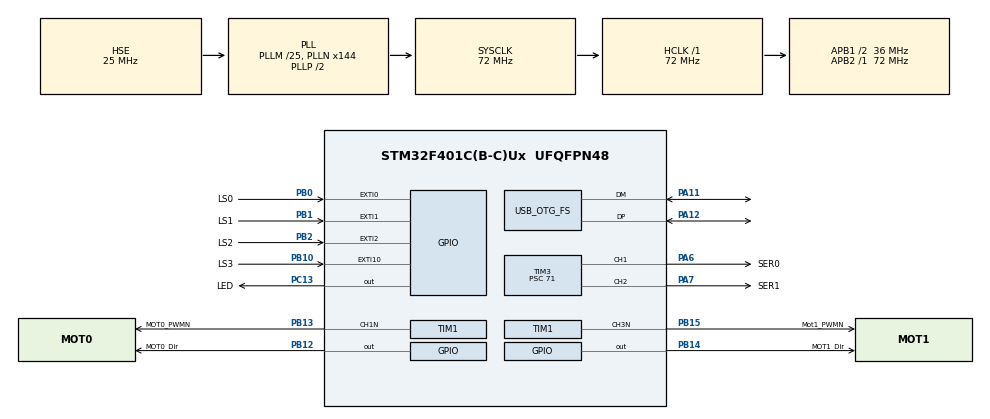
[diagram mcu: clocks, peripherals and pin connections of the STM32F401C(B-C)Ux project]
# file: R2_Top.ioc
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Mcu.Family=STM32F4
Mcu.Name=STM32F401C(B-C)Ux
Mcu.Package=UFQFPN48
NVIC.EXTI0_IRQn=true\:0\:0\:false\:false\:true\:true\:true\:true
NVIC.EXTI15_10_IRQn=true\:0\:0\:false\:false\:true\:true\:true\:true
NVIC.EXTI1_IRQn=true\:0\:0\:false\:false\:true\:true\:true\:true
NVIC.EXTI2_IRQn=true\:0\:0\:false\:false\:true\:true\:true\:true
NVIC.OTG_FS_IRQn=true\:0\:0\:false\:false\:true\:false\:true\:true
NVIC.PriorityGroup=NVIC_PRIORITYGROUP_4
NVIC.TIM4_IRQn=true\:0\:0\:false\:false\:true\:true\:true\:true
PA11.Mode=Device_Only
PA11.Signal=USB_OTG_FS_DM
PA12.Mode=Device_Only
PA12.Signal=USB_OTG_FS_DP
PA6.GPIO_Label=SER0
PA6.Signal=S_TIM3_CH1
PA7.GPIO_Label=SER1
PA7.Signal=S_TIM3_CH2
PB0.GPIO_Label=LS0
PB0.GPIO_ModeDefaultEXTI=GPIO_MODE_IT_FALLING
PB0.GPIO_PuPd=GPIO_PULLUP
PB0.Signal=GPXTI0
PB1.GPIO_Label=LS1
PB1.GPIO_ModeDefaultEXTI=GPIO_MODE_IT_FALLING
PB1.GPIO_PuPd=GPIO_PULLUP
PB1.Signal=GPXTI1
PB10.GPIO_Label=LS3
PB10.GPIO_ModeDefaultEXTI=GPIO_MODE_IT_FALLING
PB10.GPIO_PuPd=GPIO_PULLUP
PB10.Signal=GPXTI10
PB12.GPIO_Label=MOT0_Dir
PB12.Signal=GPIO_Output
PB13.GPIO_Label=MOT0_PWMN
PB13.Mode=PWM Generation1 CH1N
PB13.Signal=TIM1_CH1N
PB14.GPIO_Label=MOT1_Dir
PB14.Signal=GPIO_Output
PB15.GPIO_Label=Mot1_PWMN
PB15.Mode=PWM Generation3 CH3N
PB15.Signal=TIM1_CH3N
PB2.GPIO_Label=LS2
PB2.GPIO_ModeDefaultEXTI=GPIO_MODE_IT_FALLING
PB2.GPIO_PuPd=GPIO_PULLUP
PB2.Signal=GPXTI2
PC13-ANTI_TAMP.GPIO_Label=LED
PC13-ANTI_TAMP.Signal=GPIO_Output
PH0\ -\ OSC_IN.Mode=HSE-External-Oscillator
PH0\ -\ OSC_IN.Signal=RCC_OSC_IN
PH1\ -\ OSC_OUT.Mode=HSE-External-Oscillator
PH1\ -\ OSC_OUT.Signal=RCC_OSC_OUT
ProjectManager.HeapSize=0x200
ProjectManager.StackSize=0x400
ProjectManager.TargetToolchain=STM32CubeIDE
RCC.48MHZClocksFreq_Value=48000000
RCC.AHBFreq_Value=72000000
RCC.APB1CLKDivider=RCC_HCLK_DIV2
RCC.APB1Freq_Value=36000000
RCC.APB1TimFreq_Value=72000000
RCC.APB2Freq_Value=72000000
RCC.APB2TimFreq_Value=72000000
RCC.CortexFreq_Value=72000000
RCC.HCLKFreq_Value=72000000
RCC.HSE_VALUE=25000000
RCC.HSI_VALUE=16000000
RCC.LSE_VALUE=32768
RCC.PLLM=25
RCC.PLLN=144
RCC.PLLQ=3
RCC.SYSCLKFreq_VALUE=72000000
RCC.SYSCLKSource=RCC_SYSCLKSOURCE_PLLCLK
RCC.VCOOutputFreq_Value=144000000
SH.S_TIM3_CH1.0=TIM3_CH1,PWM Generation1 CH1
SH.S_TIM3_CH2.0=TIM3_CH2,PWM Generation2 CH2
TIM1.Channel-PWM\ Generation1\ CH1N=TIM_CHANNEL_1
TIM1.Channel-PWM\ Generation3\ CH3N=TIM_CHANNEL_3
TIM3.Channel-PWM\ Generation1\ CH1=TIM_CHANNEL_1
TIM3.Channel-PWM\ Generation2\ CH2=TIM_CHANNEL_2
TIM3.Period=20000
TIM3.Prescaler=71
TIM4.AutoReloadPreload=TIM_AUTORELOAD_PRELOAD_ENABLE
TIM4.Period=1000
TIM4.Prescaler=71
USB_DEVICE.CLASS_NAME_FS=CDC
USB_DEVICE.VirtualMode=Cdc
USB_DEVICE.VirtualModeFS=Cdc_FS
USB_OTG_FS.VirtualMode=Device_Only
VP_TIM1_VS_ClockSourceINT.Mode=Internal
VP_TIM3_VS_ClockSourceINT.Mode=Internal
VP_TIM4_VS_ClockSourceINT.Mode=Internal
VP_USB_DEVICE_VS_USB_DEVICE_CDC_FS.Mode=CDC_FS
board=custom

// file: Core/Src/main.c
/* USER CODE BEGIN Header */
/**
 ******************************************************************************
 * @file           : main.c
 * @brief          : Main program body
 ******************************************************************************
 * @attention
 *
 * Copyright (c) 2024 STMicroelectronics.
 * All rights reserved.
 *
 * This software is licensed under terms that can be found in the LICENSE file
 * in the root directory of this software component.
 * If no LICENSE file comes with this software, it is provided AS-IS.
 *
 ******************************************************************************
 */
/* USER CODE END Header */
#include "main.h"
#include "usb_device.h"

/* USER CODE BEGIN Includes */
#include "usbd_cdc_if.h"
#include "string.h"

/* USER CODE END Includes */

/* USER CODE BEGIN PTD */
typedef struct {
	GPIO_TypeDef *PORT;
	uint16_t PIN;
	TIM_HandleTypeDef *TIMER;
	uint32_t CHANNEL;
	uint8_t DIR;
	uint16_t PWM;
} MOTOR_TypeDef;

typedef struct {
	TIM_HandleTypeDef *TIMER;
	uint32_t CHANNEL;
	uint16_t US;
} SERVO_TypeDef;

/* USER CODE END PTD */

/* USER CODE BEGIN PD */
#define BUFFER_LENGTH 64
#define SOL_INTERVAL 10000
#define LEFT_SHIFT

#define LS0_PIN GPIO_PIN_0	//LEAD
#define LS1_PIN GPIO_PIN_1	//LEAD
#define LS2_PIN GPIO_PIN_2	//RACK
#define LS3_PIN GPIO_PIN_10	//RACK

#define RACK_SPEED  19660//3276
#define LEAD_SPEED  45874//19660//3276

#define RACK_COOLDOWN 100
#define LEAD_COOLDOWN 100

#define WRIST_DEFAULT 2000
#define WRIST_ACTIVE 650

#define GRIPPER_DEFAULT 1400
#define GRIPPER_ACTIVE 1100

enum motors {
	RACK, LEAD
};

enum servos {
	WRIST, GRIPPER
};

enum interrupts {
	DISABLED, ENABLED
};

enum rackDirs {
	FORWARDS, BACKWARDS
};

enum leadDirs {
	UPWARDS, DOWNWARDS
};
/* USER CODE END PD */

TIM_HandleTypeDef htim1;
TIM_HandleTypeDef htim3;
TIM_HandleTypeDef htim4;

/* USER CODE BEGIN PV */
char buffer[BUFFER_LENGTH];

//For rackExti and leadExti:
//0: interrupt disabled
//1: interrupt enabled
volatile uint8_t rackExti = ENABLED; //make sure rack limit switches are NOT pressed at startuo
volatile uint8_t leadExti = ENABLED; //make sure lead limit switches are NOT pressed at startuo

uint8_t errorFlag = 0;

char message[BUFFER_LENGTH + 20];

MOTOR_TypeDef motor[2];
SERVO_TypeDef servo[2];

/* USER CODE END PV */

void SystemClock_Config(void);
static void MX_GPIO_Init(void);
static void MX_TIM1_Init(void);
static void MX_TIM3_Init(void);
static void MX_TIM4_Init(void);

/* USER CODE BEGIN 0 */
//void stopMotor(uint8_t index) {
//	HAL_GPIO_WritePin(GPIOC, GPIO_PIN_13, GPIO_PIN_SET);
//	sprintf(message, "Motor %d interrupt\n\r", index);
//	CDC_Transmit_FS((uint8_t*) message, strlen(message));
//}

int isCleared(char *buffer) {
	for (uint8_t i = 0; i < BUFFER_LENGTH; i++) {
		if (buffer[i] != '\0') {
			return 0;  // Buffer is not cleared
		}
	}
	return 1;  // Buffer is cleared
}

/* USER CODE END 0 */

int main(void) {

	/* USER CODE BEGIN 1 */
//	uint32_t lastSOL = 0;
	motor[LEAD].PORT = GPIOB;
	motor[LEAD].PIN = GPIO_PIN_14;
	motor[LEAD].TIMER = &htim1;
	motor[LEAD].CHANNEL = TIM_CHANNEL_3;

	motor[RACK].PORT = GPIOB;
	motor[RACK].PIN = GPIO_PIN_12;
	motor[RACK].TIMER = &htim1;
	motor[RACK].CHANNEL = TIM_CHANNEL_1;

	servo[WRIST].TIMER = &htim3;
	servo[WRIST].CHANNEL = TIM_CHANNEL_1;
	servo[WRIST].US = WRIST_DEFAULT;

	servo[GRIPPER].TIMER = &htim3;
	servo[GRIPPER].CHANNEL = TIM_CHANNEL_2;
	servo[GRIPPER].US = GRIPPER_DEFAULT;

	for (uint8_t i = 0; i < 2; i++) {
		motor[i].DIR = 0;
		motor[i].PWM = 0;
	}

	/* USER CODE END 1 */

	/* MCU Configuration--------------------------------------------------------*/

	/* Reset of all peripherals, Initializes the Flash interface and the Systick. */
	HAL_Init();

	/* Configure the system clock */
	SystemClock_Config();

	/* Initialize all configured peripherals */
	MX_GPIO_Init();
	MX_TIM1_Init();
	MX_TIM3_Init();
	MX_TIM4_Init();
	MX_USB_DEVICE_Init();
	/* USER CODE BEGIN 2 */
	HAL_GPIO_WritePin(GPIOC, GPIO_PIN_13, GPIO_PIN_RESET);

	for (uint8_t i = 0; i < 2; i++) {
		if ((HAL_TIMEx_PWMN_Start(motor[i].TIMER, motor[i].CHANNEL) == HAL_OK)) { //<-This is PWMN
			sprintf(message, "Motor %d PWM initialised\n\r", i);
		} else {
			sprintf(message, "Error initialising motor %d PWM\n\r", i);
		}
		CDC_Transmit_FS((uint8_t*) message, strlen(message));
		HAL_Delay(1);
	}

	for (uint8_t i = 0; i < 2; i++) {
		if (HAL_TIM_PWM_Start(servo[i].TIMER, servo[i].CHANNEL)) { //<-This is PWM
			sprintf(message, "Servo %d PWM initialised\n\r", i);
		} else {
			sprintf(message, "Error initialising servo %d PWM\n\r", i);
		}
		CDC_Transmit_FS((uint8_t*) message, strlen(message));
		HAL_Delay(1);
	}

	if (!errorFlag) {
		sprintf(message, "All systems operational\n\r");
		CDC_Transmit_FS((uint8_t*) message, strlen(message));
		HAL_Delay(1);

		sprintf(message, "F411 Black Pill online\n\r");
		CDC_Transmit_FS((uint8_t*) message, strlen(message));
		HAL_Delay(1);
	} else {
		sprintf(message, "STM started with some errors\n\r");
		CDC_Transmit_FS((uint8_t*) message, strlen(message));
		HAL_Delay(1);
	}

	__HAL_TIM_SET_COMPARE(servo[WRIST].TIMER, servo[WRIST].CHANNEL,
			WRIST_DEFAULT);
	__HAL_TIM_SET_COMPARE(servo[GRIPPER].TIMER, servo[GRIPPER].CHANNEL,
			GRIPPER_DEFAULT);
	/* USER CODE END 2 */

	/* Infinite loop */
	/* USER CODE BEGIN WHILE */
	while (1) {
//		uint32_t current_time = HAL_GetTick();

		if (leadExti == DISABLED) {
			if (motor[LEAD].DIR == 0) {
				motor[LEAD].DIR = 1;
			} else if (motor[LEAD].DIR == 1) {
				motor[LEAD].DIR = 0;
			}
			HAL_GPIO_TogglePin(motor[LEAD].PORT, motor[LEAD].PIN);
			HAL_Delay(LEAD_COOLDOWN);
			motor[LEAD].PWM = 0;
			__HAL_TIM_SET_COMPARE(motor[LEAD].TIMER, motor[LEAD].CHANNEL,
					motor[LEAD].PWM);

			leadExti = ENABLED;	//Re-enabling the interrupts
			HAL_GPIO_WritePin(GPIOC, GPIO_PIN_13, GPIO_PIN_RESET);
		}

		if (rackExti == DISABLED) {
			if (motor[RACK].DIR == 0) {
				motor[RACK].DIR = 1;
			} else if (motor[RACK].DIR == 1) {
				motor[RACK].DIR = 0;
			}
			HAL_GPIO_TogglePin(motor[RACK].PORT, motor[RACK].PIN);
			HAL_Delay(RACK_COOLDOWN);
			motor[RACK].PWM = 0;
			__HAL_TIM_SET_COMPARE(motor[RACK].TIMER, motor[RACK].CHANNEL,
					motor[RACK].PWM);

			rackExti = ENABLED;	//Re-enabling the interrupts
			HAL_GPIO_WritePin(GPIOC, GPIO_PIN_13, GPIO_PIN_RESET);
		}

		if (!isCleared(buffer)) {
			char receivedStr[BUFFER_LENGTH];

//			sprintf(message, "String Received: %s\n\r", buffer);
//			CDC_Transmit_FS((uint8_t*) message, strlen(message));

			sprintf(receivedStr, "%s", buffer);

			if (receivedStr[0] == '0') {	//RESET
				sprintf(message, "0 \r\n");
				CDC_Transmit_FS((uint8_t*) message, strlen(message));
				HAL_Delay(1);

//				for (uint8_t i = 0; i < 2; i++) {
//					motor[i].DIR = 0;
//					motor[i].PWM = 0;
//				}
//
//				servo[WRIST].US = WRIST_DEFAULT;
//				servo[GRIPPER].US = GRIPPER_DEFAULT;
			} else if (receivedStr[0] == '1') {	//RETRACT
				if (rackExti == ENABLED) {
					sprintf(message, "-1 \r\n");
					CDC_Transmit_FS((uint8_t*) message, strlen(message));
					HAL_Delay(1);

					HAL_GPIO_WritePin(motor[RACK].PORT, motor[RACK].PIN,
							BACKWARDS);
					__HAL_TIM_SET_COMPARE(motor[RACK].TIMER,
							motor[RACK].CHANNEL, RACK_SPEED);

				}
			} else if (receivedStr[0] == '2') {	//EXTEND
				if (rackExti == ENABLED) {
					sprintf(message, "-2 \r\n");
					CDC_Transmit_FS((uint8_t*) message, strlen(message));
					HAL_Delay(1);

					HAL_GPIO_WritePin(motor[RACK].PORT, motor[RACK].PIN,
							FORWARDS);
					__HAL_TIM_SET_COMPARE(motor[RACK].TIMER,
							motor[RACK].CHANNEL, RACK_SPEED);

				}
			} else if (receivedStr[0] == '3') {	//DESCALATE
				if (leadExti == ENABLED) {
					sprintf(message, "-3 \r\n");
					CDC_Transmit_FS((uint8_t*) message, strlen(message));
					HAL_Delay(1);

					HAL_GPIO_WritePin(motor[LEAD].PORT, motor[LEAD].PIN,
							DOWNWARDS);
					__HAL_TIM_SET_COMPARE(motor[LEAD].TIMER,
							motor[LEAD].CHANNEL, LEAD_SPEED);

				}
			} else if (receivedStr[0] == '4') {	//ESCALATE
				if (leadExti == ENABLED) {
					sprintf(message, "-4 \r\n");
					CDC_Transmit_FS((uint8_t*) message, strlen(message));
					HAL_Delay(1);

					HAL_GPIO_WritePin(motor[LEAD].PORT, motor[LEAD].PIN,
							UPWARDS);
					__HAL_TIM_SET_COMPARE(motor[LEAD].TIMER,
							motor[LEAD].CHANNEL, LEAD_SPEED);

				}
			} else if (receivedStr[0] == '5') {	//ARM_DOWN
				sprintf(message, "5 \r\n");
				CDC_Transmit_FS((uint8_t*) message, strlen(message));
				HAL_Delay(1);

				__HAL_TIM_SET_COMPARE(servo[WRIST].TIMER, servo[WRIST].CHANNEL,
						WRIST_ACTIVE);

				HAL_Delay(1000);
				sprintf(message, "-5 \r\n");
				CDC_Transmit_FS((uint8_t*) message, strlen(message));
				HAL_Delay(1);

			} else if (receivedStr[0] == '6') {	//ARM_UP
				sprintf(message, "6 \r\n");
				CDC_Transmit_FS((uint8_t*) message, strlen(message));
				HAL_Delay(1);

				__HAL_TIM_SET_COMPARE(servo[WRIST].TIMER, servo[WRIST].CHANNEL,
						WRIST_DEFAULT);

				HAL_Delay(1000);
				sprintf(message, "-6 \r\n");
				CDC_Transmit_FS((uint8_t*) message, strlen(message));
				HAL_Delay(1);

			} else if (receivedStr[0] == '7') {	//ARM_CLOSE
				sprintf(message, "7 \r\n");
				CDC_Transmit_FS((uint8_t*) message, strlen(message));
				HAL_Delay(1);

				__HAL_TIM_SET_COMPARE(servo[GRIPPER].TIMER,
						servo[GRIPPER].CHANNEL, GRIPPER_ACTIVE);

				HAL_Delay(500);
				sprintf(message, "-7 \r\n");
				CDC_Transmit_FS((uint8_t*) message, strlen(message));
				HAL_Delay(1);

			} else if (receivedStr[0] == '8') {	//ARM_OPEN
				sprintf(message, "8 \r\n");
				CDC_Transmit_FS((uint8_t*) message, strlen(message));
				HAL_Delay(1);

				__HAL_TIM_SET_COMPARE(servo[GRIPPER].TIMER,
						servo[GRIPPER].CHANNEL, GRIPPER_DEFAULT);

				HAL_Delay(500);
				sprintf(message, "-8 \r\n");
				CDC_Transmit_FS((uint8_t*) message, strlen(message));
				HAL_Delay(1);

//			} else if (receivedStr[0] == '9') {	//HALF_DESCALATE: DON'T EVER use this as the 1st command after startup
//				__HAL_TIM_SET_COMPARE(motor[LEAD].TIMER, motor[LEAD].CHANNEL,
//						LEAD_SPEED);
//				HAL_Delay(1000);
//				__HAL_TIM_SET_COMPARE(motor[LEAD].TIMER, motor[LEAD].CHANNEL,
//						0);
//			} else if (receivedStr[0] == 'D') {
//				for (uint8_t i = 0; i < 2; i++) {
//					sprintf(message, "Dir%d: %d PWM%d: %d SER%d: %d\n\r", i,
//							motor[i].DIR, i, motor[i].PWM, i, servo[i].US);
//					CDC_Transmit_FS((uint8_t*) message, strlen(message));
//					HAL_Delay(1);
//				}
			}

//			sprintf(message, "%c \r\n", receivedStr[0]);
//			CDC_Transmit_FS((uint8_t*) message, strlen(message));
//			HAL_Delay(1);

//			for (uint8_t i = 0; i < 2; i++) {
//				sprintf(message, "Dir%d: %d PWM%d: %d SER%d: %d\n\r", i,
//						motor[i].DIR, i, motor[i].PWM, i, servo[i].US);
//				CDC_Transmit_FS((uint8_t*) message, strlen(message));
//				HAL_Delay(1);

//				HAL_GPIO_WritePin(motor[i].PORT, motor[i].PIN, motor[i].DIR);//<-MOTORS HERE
//				__HAL_TIM_SET_COMPARE(motor[i].TIMER, motor[i].CHANNEL,
//						motor[i].PWM);
//				__HAL_TIM_SET_COMPARE(servo[i].TIMER, servo[i].CHANNEL,
//						servo[i].US);
			}

			memset(buffer, '\0', BUFFER_LENGTH);

//		} else if (current_time - lastSOL >= SOL_INTERVAL) {
//			CDC_Transmit_FS((uint8_t*) "SOL\n\r", strlen("SOL\n\r"));
//			lastSOL = current_time;
//		}

		HAL_Delay(1);

		/* USER CODE END WHILE */

	}
}

void SystemClock_Config(void) {
	RCC_OscInitTypeDef RCC_OscInitStruct = { 0 };
	RCC_ClkInitTypeDef RCC_ClkInitStruct = { 0 };

	/** Configure the main internal regulator output voltage
	 */
	__HAL_RCC_PWR_CLK_ENABLE();
	__HAL_PWR_VOLTAGESCALING_CONFIG(PWR_REGULATOR_VOLTAGE_SCALE2);

	/** Initializes the RCC Oscillators according to the specified parameters
	 * in the RCC_OscInitTypeDef structure.
	 */
	RCC_OscInitStruct.OscillatorType = RCC_OSCILLATORTYPE_HSE;
	RCC_OscInitStruct.HSEState = RCC_HSE_ON;
	RCC_OscInitStruct.PLL.PLLState = RCC_PLL_ON;
	RCC_OscInitStruct.PLL.PLLSource = RCC_PLLSOURCE_HSE;
	RCC_OscInitStruct.PLL.PLLM = 25;
	RCC_OscInitStruct.PLL.PLLN = 144;
	RCC_OscInitStruct.PLL.PLLP = RCC_PLLP_DIV2;
	RCC_OscInitStruct.PLL.PLLQ = 3;
	if (HAL_RCC_OscConfig(&RCC_OscInitStruct) != HAL_OK) {
		Error_Handler();
	}

	/** Initializes the CPU, AHB and APB buses clocks
	 */
	RCC_ClkInitStruct.ClockType = RCC_CLOCKTYPE_HCLK | RCC_CLOCKTYPE_SYSCLK
			| RCC_CLOCKTYPE_PCLK1 | RCC_CLOCKTYPE_PCLK2;
	RCC_ClkInitStruct.SYSCLKSource = RCC_SYSCLKSOURCE_PLLCLK;
	RCC_ClkInitStruct.AHBCLKDivider = RCC_SYSCLK_DIV1;
	RCC_ClkInitStruct.APB1CLKDivider = RCC_HCLK_DIV2;
	RCC_ClkInitStruct.APB2CLKDivider = RCC_HCLK_DIV1;

	if (HAL_RCC_ClockConfig(&RCC_ClkInitStruct, FLASH_LATENCY_2) != HAL_OK) {
		Error_Handler();
	}
}

static void MX_TIM1_Init(void) {

	TIM_ClockConfigTypeDef sClockSourceConfig = { 0 };
	TIM_MasterConfigTypeDef sMasterConfig = { 0 };
	TIM_OC_InitTypeDef sConfigOC = { 0 };
	TIM_BreakDeadTimeConfigTypeDef sBreakDeadTimeConfig = { 0 };

	htim1.Instance = TIM1;
	htim1.Init.Prescaler = 0;
	htim1.Init.CounterMode = TIM_COUNTERMODE_UP;
	htim1.Init.Period = 65535;
	htim1.Init.ClockDivision = TIM_CLOCKDIVISION_DIV1;
	htim1.Init.RepetitionCounter = 0;
	htim1.Init.AutoReloadPreload = TIM_AUTORELOAD_PRELOAD_DISABLE;
	if (HAL_TIM_Base_Init(&htim1) != HAL_OK) {
		Error_Handler();
	}
	sClockSourceConfig.ClockSource = TIM_CLOCKSOURCE_INTERNAL;
	if (HAL_TIM_ConfigClockSource(&htim1, &sClockSourceConfig) != HAL_OK) {
		Error_Handler();
	}
	if (HAL_TIM_PWM_Init(&htim1) != HAL_OK) {
		Error_Handler();
	}
	sMasterConfig.MasterOutputTrigger = TIM_TRGO_RESET;
	sMasterConfig.MasterSlaveMode = TIM_MASTERSLAVEMODE_DISABLE;
	if (HAL_TIMEx_MasterConfigSynchronization(&htim1, &sMasterConfig)
			!= HAL_OK) {
		Error_Handler();
	}
	sConfigOC.OCMode = TIM_OCMODE_PWM1;
	sConfigOC.Pulse = 0;
	sConfigOC.OCPolarity = TIM_OCPOLARITY_HIGH;
	sConfigOC.OCNPolarity = TIM_OCNPOLARITY_HIGH;
	sConfigOC.OCFastMode = TIM_OCFAST_DISABLE;
	sConfigOC.OCIdleState = TIM_OCIDLESTATE_RESET;
	sConfigOC.OCNIdleState = TIM_OCNIDLESTATE_RESET;
	if (HAL_TIM_PWM_ConfigChannel(&htim1, &sConfigOC, TIM_CHANNEL_1)
			!= HAL_OK) {
		Error_Handler();
	}
	if (HAL_TIM_PWM_ConfigChannel(&htim1, &sConfigOC, TIM_CHANNEL_3)
			!= HAL_OK) {
		Error_Handler();
	}
	sBreakDeadTimeConfig.OffStateRunMode = TIM_OSSR_DISABLE;
	sBreakDeadTimeConfig.OffStateIDLEMode = TIM_OSSI_DISABLE;
	sBreakDeadTimeConfig.LockLevel = TIM_LOCKLEVEL_OFF;
	sBreakDeadTimeConfig.DeadTime = 0;
	sBreakDeadTimeConfig.BreakState = TIM_BREAK_DISABLE;
	sBreakDeadTimeConfig.BreakPolarity = TIM_BREAKPOLARITY_HIGH;
	sBreakDeadTimeConfig.AutomaticOutput = TIM_AUTOMATICOUTPUT_DISABLE;
	if (HAL_TIMEx_ConfigBreakDeadTime(&htim1, &sBreakDeadTimeConfig)
			!= HAL_OK) {
		Error_Handler();
	}
	HAL_TIM_MspPostInit(&htim1);

}

static void MX_TIM3_Init(void) {

	TIM_ClockConfigTypeDef sClockSourceConfig = { 0 };
	TIM_MasterConfigTypeDef sMasterConfig = { 0 };
	TIM_OC_InitTypeDef sConfigOC = { 0 };

	htim3.Instance = TIM3;
	htim3.Init.Prescaler = 71;
	htim3.Init.CounterMode = TIM_COUNTERMODE_UP;
	htim3.Init.Period = 20000;
	htim3.Init.ClockDivision = TIM_CLOCKDIVISION_DIV1;
	htim3.Init.AutoReloadPreload = TIM_AUTORELOAD_PRELOAD_DISABLE;
	if (HAL_TIM_Base_Init(&htim3) != HAL_OK) {
		Error_Handler();
	}
	sClockSourceConfig.ClockSource = TIM_CLOCKSOURCE_INTERNAL;
	if (HAL_TIM_ConfigClockSource(&htim3, &sClockSourceConfig) != HAL_OK) {
		Error_Handler();
	}
	if (HAL_TIM_PWM_Init(&htim3) != HAL_OK) {
		Error_Handler();
	}
	sMasterConfig.MasterOutputTrigger = TIM_TRGO_RESET;
	sMasterConfig.MasterSlaveMode = TIM_MASTERSLAVEMODE_DISABLE;
	if (HAL_TIMEx_MasterConfigSynchronization(&htim3, &sMasterConfig)
			!= HAL_OK) {
		Error_Handler();
	}
	sConfigOC.OCMode = TIM_OCMODE_PWM1;
	sConfigOC.Pulse = 0;
	sConfigOC.OCPolarity = TIM_OCPOLARITY_HIGH;
	sConfigOC.OCFastMode = TIM_OCFAST_DISABLE;
	if (HAL_TIM_PWM_ConfigChannel(&htim3, &sConfigOC, TIM_CHANNEL_1)
			!= HAL_OK) {
		Error_Handler();
	}
	if (HAL_TIM_PWM_ConfigChannel(&htim3, &sConfigOC, TIM_CHANNEL_2)
			!= HAL_OK) {
		Error_Handler();
	}
	HAL_TIM_MspPostInit(&htim3);

}

static void MX_TIM4_Init(void) {

	TIM_ClockConfigTypeDef sClockSourceConfig = { 0 };
	TIM_MasterConfigTypeDef sMasterConfig = { 0 };

	htim4.Instance = TIM4;
	htim4.Init.Prescaler = 71;
	htim4.Init.CounterMode = TIM_COUNTERMODE_UP;
	htim4.Init.Period = 1000;
	htim4.Init.ClockDivision = TIM_CLOCKDIVISION_DIV1;
	htim4.Init.AutoReloadPreload = TIM_AUTORELOAD_PRELOAD_ENABLE;
	if (HAL_TIM_Base_Init(&htim4) != HAL_OK) {
		Error_Handler();
	}
	sClockSourceConfig.ClockSource = TIM_CLOCKSOURCE_INTERNAL;
	if (HAL_TIM_ConfigClockSource(&htim4, &sClockSourceConfig) != HAL_OK) {
		Error_Handler();
	}
	sMasterConfig.MasterOutputTrigger = TIM_TRGO_RESET;
	sMasterConfig.MasterSlaveMode = TIM_MASTERSLAVEMODE_DISABLE;
	if (HAL_TIMEx_MasterConfigSynchronization(&htim4, &sMasterConfig)
			!= HAL_OK) {
		Error_Handler();
	}

}

static void MX_GPIO_Init(void) {
	GPIO_InitTypeDef GPIO_InitStruct = { 0 };

	/* GPIO Ports Clock Enable */
	__HAL_RCC_GPIOC_CLK_ENABLE();
	__HAL_RCC_GPIOH_CLK_ENABLE();
	__HAL_RCC_GPIOA_CLK_ENABLE();
	__HAL_RCC_GPIOB_CLK_ENABLE();

	/*Configure GPIO pin Output Level */
	HAL_GPIO_WritePin(LED_GPIO_Port, LED_Pin, GPIO_PIN_RESET);

	/*Configure GPIO pin Output Level */
	HAL_GPIO_WritePin(GPIOB, MOT0_Dir_Pin | MOT1_Dir_Pin, GPIO_PIN_RESET);

	/*Configure GPIO pin : LED_Pin */
	GPIO_InitStruct.Pin = LED_Pin;
	GPIO_InitStruct.Mode = GPIO_MODE_OUTPUT_PP;
	GPIO_InitStruct.Pull = GPIO_NOPULL;
	GPIO_InitStruct.Speed = GPIO_SPEED_FREQ_LOW;
	HAL_GPIO_Init(LED_GPIO_Port, &GPIO_InitStruct);

	/*Configure GPIO pins : LS0_Pin LS1_Pin LS2_Pin LS3_Pin */
	GPIO_InitStruct.Pin = LS0_Pin | LS1_Pin | LS2_Pin | LS3_Pin;
	GPIO_InitStruct.Mode = GPIO_MODE_IT_FALLING;
	GPIO_InitStruct.Pull = GPIO_PULLUP;
	HAL_GPIO_Init(GPIOB, &GPIO_InitStruct);

	/*Configure GPIO pins : MOT0_Dir_Pin MOT1_Dir_Pin */
	GPIO_InitStruct.Pin = MOT0_Dir_Pin | MOT1_Dir_Pin;
	GPIO_InitStruct.Mode = GPIO_MODE_OUTPUT_PP;
	GPIO_InitStruct.Pull = GPIO_NOPULL;
	GPIO_InitStruct.Speed = GPIO_SPEED_FREQ_LOW;
	HAL_GPIO_Init(GPIOB, &GPIO_InitStruct);

	/* EXTI interrupt init*/
	HAL_NVIC_SetPriority(EXTI0_IRQn, 0, 0);
	HAL_NVIC_EnableIRQ(EXTI0_IRQn);

	HAL_NVIC_SetPriority(EXTI1_IRQn, 0, 0);
	HAL_NVIC_EnableIRQ(EXTI1_IRQn);

	HAL_NVIC_SetPriority(EXTI2_IRQn, 0, 0);
	HAL_NVIC_EnableIRQ(EXTI2_IRQn);

	HAL_NVIC_SetPriority(EXTI15_10_IRQn, 0, 0);
	HAL_NVIC_EnableIRQ(EXTI15_10_IRQn);

}

/* USER CODE BEGIN 4 */
void HAL_TIM_PeriodElapsedCallback(TIM_HandleTypeDef *htim) {
	if (errorFlag) {
		HAL_GPIO_TogglePin(GPIOC, GPIO_PIN_13);
	}
}

void HAL_GPIO_EXTI_Callback(uint16_t GPIO_Pin) {
	if (GPIO_Pin == LS0_PIN || GPIO_Pin == LS1_PIN) {			//for lead
		if (leadExti == ENABLED) {
			leadExti = DISABLED;//disabling the interrupt to prevent bouncing
//			stopMotor(LEAD);
			HAL_GPIO_WritePin(GPIOC, GPIO_PIN_13, GPIO_PIN_SET);
		}
	} else if (GPIO_Pin == LS2_PIN || GPIO_Pin == LS3_PIN) {	//for rack
		if (rackExti == ENABLED) {
			rackExti = DISABLED;//disabling the interrupt to prevent bouncing
//			stopMotor(RACK);
			HAL_GPIO_WritePin(GPIOC, GPIO_PIN_13, GPIO_PIN_SET);
		}
	}
}

/* USER CODE END 4 */

void Error_Handler(void) {
	__disable_irq();
	while (1) {
	}
}
